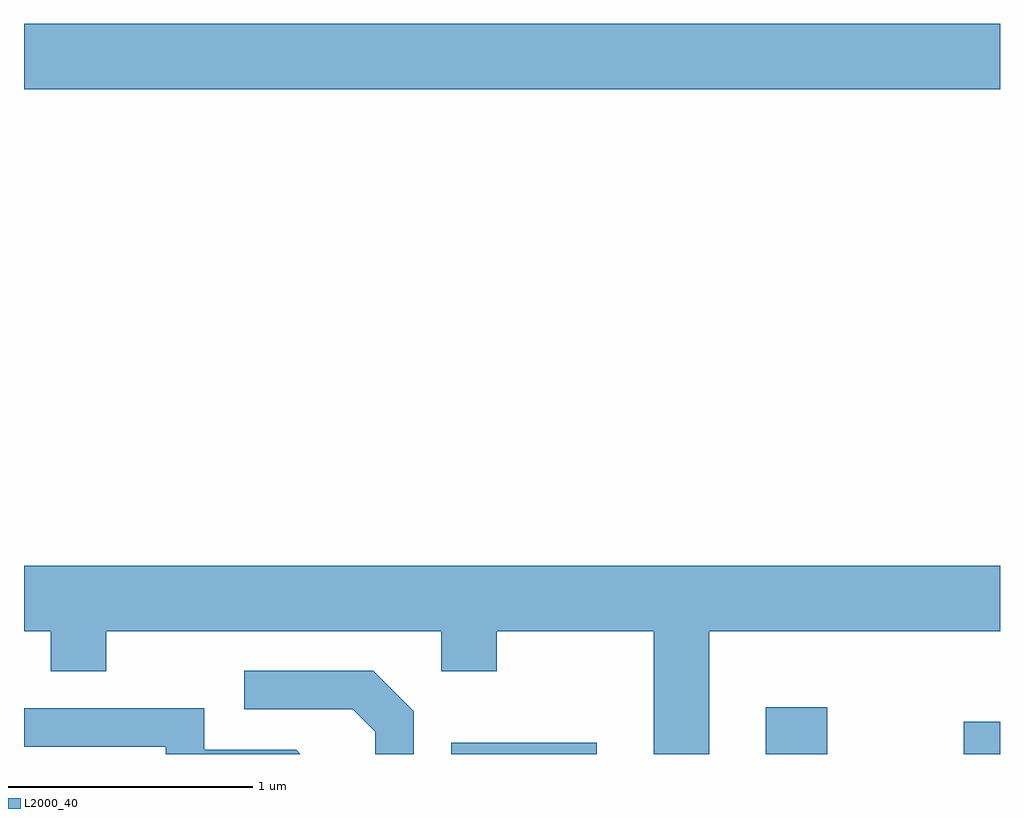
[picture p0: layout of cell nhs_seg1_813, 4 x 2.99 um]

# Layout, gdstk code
import gdstk
lib = gdstk.Library(unit=1e-6, precision=1e-09)
def R(c, l, rs):  # rectangles x0, y0, x1, y1
    for r in rs: c.add(gdstk.rectangle(r[:2], r[2:], *l))
def P(c, l, *ps):  # polygons
    for p in ps: c.add(gdstk.Polygon(p, *l))
L2000_40 = (2000, 40)

nhs_seg1_813 = lib.new_cell('nhs_seg1_813')
R(nhs_seg1_813, L2000_40, [(211.361,925.712,211.959,925.759), (212.651,925.712,212.904,925.904), (213.463,925.712,213.611,925.844), (209.611,928.436,213.611,928.704)])
P(nhs_seg1_813, L2000_40, [(212.419,926.216),(213.611,926.216),(213.611,926.484),(209.611,926.484),(209.611,926.216),(209.721,926.216),(209.721,926.051),(209.949,926.051),(209.949,926.216),(211.321,926.216),(211.321,926.051),(211.549,926.051),(211.549,926.216),(212.191,926.216),(212.191,925.712),(212.419,925.712)],
  [(211.209,925.887),(211.042,926.054),(210.513,926.054),(210.513,925.896),(210.959,925.896),(211.051,925.804),(211.051,925.712),(211.209,925.712)],
  [(210.727,925.729),(210.349,925.729),(210.349,925.899),(209.611,925.899),(209.611,925.741),(210.191,925.741),(210.191,925.712),(210.744,925.712)])

lib.write_gds('nhs_seg1_813.gds')
